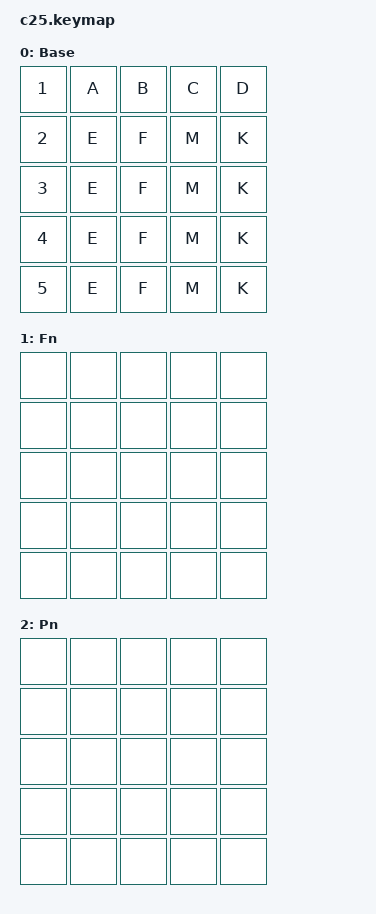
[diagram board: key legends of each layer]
#include <behaviors.dtsi>
#include <dt-bindings/zmk/keys.h>

/ {
    keymap {
        compatible = "zmk,keymap";

        default_layer { // Layer 0
            display-name = "Base";
            bindings = <
                &kp N1    &kp A    &kp B   &kp C    &kp D
                &kp N2    &kp E    &kp F   &kp M    &kp K
                &kp N3    &kp E    &kp F   &kp M    &kp K
                &kp N4    &kp E    &kp F   &kp M    &kp K
                &kp N5    &kp E    &kp F   &kp M    &kp K
            >;
        };

        fn_layer {
            display-name = "Fn";
            bindings = <
                &none &none &none &none &none
                &none &none &none &none &none
                &none &none &none &none &none
                &none &none &none &none &none
                &none &none &none &none &none
            >;
        };

        extra1 {
            status = "reserved";
        };

        extra2 {
            status = "reserved";
        };

        extra3 {
            status = "reserved";
        };

        extra4 {
            status = "reserved";
        };

        pn_layer {
            display-name = "Pn";
            bindings = <
                &none &none &none &none &none
                &none &none &none &none &none
                &none &none &none &none &none
                &none &none &none &none &none
                &none &none &none &none &none
            >;
        };
    };
 };
